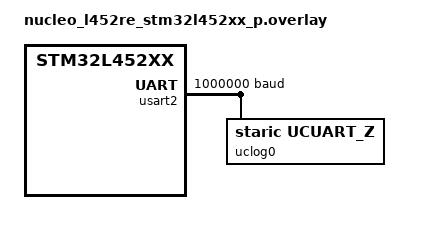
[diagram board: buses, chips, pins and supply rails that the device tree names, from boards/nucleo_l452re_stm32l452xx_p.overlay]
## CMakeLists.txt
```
# © 2025 Unit Circle Inc

cmake_minimum_required(VERSION 3.20.0)



# west build -S uclog-target1
# Or we can force
# See: https://docs.zephyrproject.org/latest/build/snippets/using.html#application-required-snippets
if(NOT uclog-target1 IN_LIST SNIPPET)
  set(SNIPPET uclog-target1 ${SNIPPET} CACHE STRING "" FORCE)
endif()
if(NOT uclog-shell IN_LIST SNIPPET)
  set(SNIPPET uclog-shell ${SNIPPET} CACHE STRING "" FORCE)
endif()


find_package(Zephyr REQUIRED HINTS $ENV{ZEPHYR_BASE})

zephyr_compile_options( -Werror )

project(app)

target_sources(app PRIVATE src/main.c
)
```

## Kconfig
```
# Copyright (c) 2025 Unit Circle Inc
# SPDX-License-Identifier: Apache-2.0

menu "Zephyr"
source "Kconfig.zephyr"
endmenu

module = APP
module-str = APP
source "subsys/logging/Kconfig.template.log_config"
```

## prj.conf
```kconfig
CONFIG_FPU=y
CONFIG_TIMING_FUNCTIONS=y
CONFIG_STACK_USAGE=y

CONFIG_LOG_DEFAULT_LEVEL=4

CONFIG_KERNEL_LOG_LEVEL_WRN=y
CONFIG_MPU_LOG_LEVEL_WRN=y
CONFIG_CLOCK_CONTROL_LOG_LEVEL_WRN=y

# Disable callers to PRINTK as it adds a lot of code and only used in banners
CONFIG_BOOT_BANNER=n


# Add optional log server
CONFIG_UC_LOG_SERVER=y
#CONFIG_UC_SHELL_STACK_SIZE=512
#CONFIG_UC_SHELL_LOG_LEVEL=0
```

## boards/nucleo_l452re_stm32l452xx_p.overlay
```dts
/* ucLog on the ST-LINK virtual COM port (USART2, PA2/PA3) at 1 Mbaud, through ucuart_z. */

/ {
	chosen {
		uclog,link = &uclog0;
	};
};

&usart2 {
	current-speed = <1000000>;

	uclog0: uclog {
		compatible = "staric,ucuart_z";
		current-speed = <1000000>;
	};
};
```

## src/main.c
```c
// © 2025 Unit Circle Inc.`

#include <stdlib.h>
#include <stdint.h>
#include "zephyr/kernel.h"
#include "zephyr/logging/log.h"
#include "zephyr/logging/log_output.h"
#include "zephyr/timing/timing.h"

#include <stdarg.h>

LOG_MODULE_REGISTER(main);

void my_work_handler(struct k_work *work) {
  //int64_t now = k_uptime_get();
  //double  secs = (float) now / 1000.0f;
  static uint32_t x  = 0;
  x = x + 1;
  timing_start();
  timing_t start = timing_counter_get();
  //LOG_INF("tick %.3f s since reset", secs);
  //LOG_INF("tick %lld s since reset", now);
  LOG_INF("tick 00000 s since reset");
  //LOG_INF("tick %u since reset", x);
  timing_t end = timing_counter_get();
  timing_stop();
  uint64_t cycles = timing_cycles_get(&start, &end);
  uint64_t ns     = timing_cycles_to_ns(cycles);
  LOG_INF("timing %lld cycles %lld ns", cycles, ns);
}

K_WORK_DEFINE(my_work, my_work_handler);

void my_timer_handler(struct k_timer *dummy) {
    k_work_submit(&my_work);
}

K_TIMER_DEFINE(my_timer, my_timer_handler, NULL);

int main(void) {
    //log_output_timestamp_freq_set(0); // Disable generating timestamps
  LOG_ERR("error");
  LOG_WRN("warn");
  LOG_INF("info");
  LOG_DBG("debug");
  //printk("xxx %s %d\n", "hello", 2);
  //LOG_PRINTK("hello\n"); // calls Z_LOG_PRINTK - can easily fake it
  timing_init();
  (void) k_timer_start(&my_timer, K_SECONDS(5), K_SECONDS(5));

  while (true) {
    (void) k_sleep(K_MSEC(1000));
    //boot_banner();
    LOG_DBG("debug");
    LOG_DEBUG("%s", "hello there");

  }
}




//----------------

#if 0

static void uc_console_hook_install(void)
{
#if defined(CONFIG_STDOUT_CONSOLE)
        __stdout_hook_install(console_out);
#endif
#if defined(CONFIG_PRINTK)
        __printk_hook_install(console_out);
#endif
}

/**
 * @brief Initialize one UART as the console/debug port
 *
 * @return 0 if successful, otherwise failed.
 */
static int uc_console_init(void)
{
        if (!device_is_ready(uart_console_dev)) {
                return -ENODEV;
        }

        uart_console_hook_install();

        return 0;
}

/* UART console initializes after the UART device itself */
SYS_INIT(uc_console_init,
#if defined(CONFIG_EARLY_CONSOLE)
         PRE_KERNEL_1,
#else
         POST_KERNEL,
#endif
         CONFIG_CONSOLE_INIT_PRIORITY);

#endif
```
